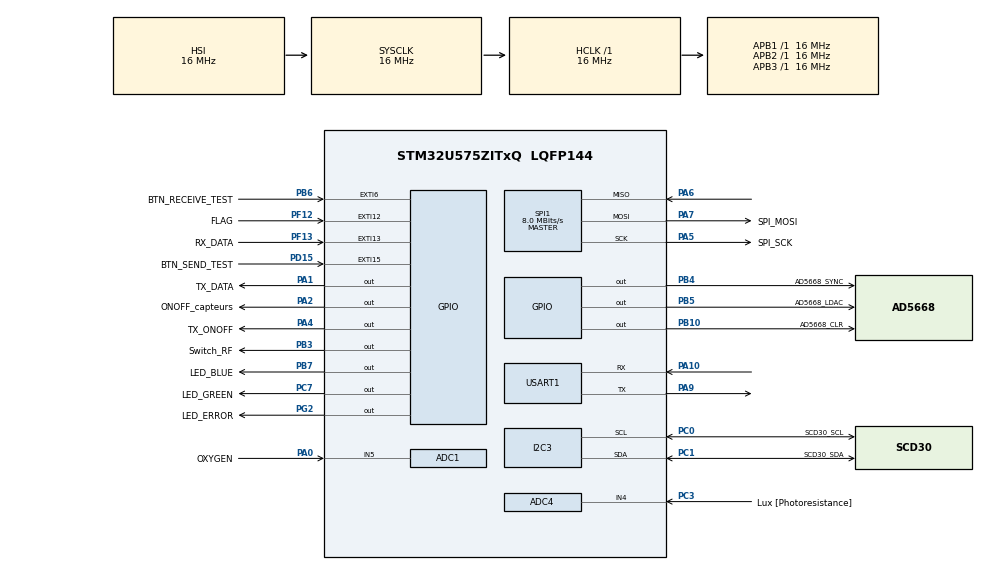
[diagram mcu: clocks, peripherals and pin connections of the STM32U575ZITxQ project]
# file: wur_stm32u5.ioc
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ADC1.Channel-3\#ChannelRegularConversion=ADC_CHANNEL_5
ADC1.EnableRegularConversion=ENABLE
ADC1.MonitoredBy-3\#ChannelRegularConversion=__NULL
ADC1.NbrOfConversion=1
ADC1.NbrOfConversionFlag=1
ADC1.OffsetNumber-3\#ChannelRegularConversion=ADC_OFFSET_NONE
ADC1.Rank-3\#ChannelRegularConversion=1
ADC1.Resolution=ADC_RESOLUTION_12B
ADC1.SamplingTime-3\#ChannelRegularConversion=ADC_SAMPLETIME_814CYCLES
ADC1.TriggerFrequencyMode=ADC_TRIGGER_FREQ_HIGH
ADC1.master=1
ADC4.NbrOfConversion=1
ADC4.NbrOfConversionFlag=0
ADC4.SamplingTimeCommon1=ADC4_SAMPLETIME_814CYCLES_5
ADC4.SamplingTimeCommon2=ADC4_SAMPLETIME_814CYCLES_5
ADC4.SelectedChannel=ADC_CHANNEL_4
ADC4.TriggerFrequencyMode=ADC_TRIGGER_FREQ_LOW
CORTEX_M33_NS.userName=CORTEX_M33
I2C3.Timing=0x00303D5B
LPTIM1.ClockPrescaler=LPTIM_PRESCALER_DIV128
LPTIM1.Period=2559
Mcu.Family=STM32U5
Mcu.Name=STM32U575ZITxQ
Mcu.Package=LQFP144
NUCLEO-U575ZI-Q.BUTTON=0
NVIC.EXTI12_IRQn=true\:0\:0\:false\:false\:true\:true\:true\:true
NVIC.EXTI13_IRQn=true\:0\:0\:false\:false\:true\:true\:true\:true
NVIC.EXTI15_IRQn=true\:5\:0\:true\:false\:true\:true\:true\:true
NVIC.EXTI6_IRQn=true\:0\:0\:true\:false\:true\:true\:true\:true
NVIC.LPTIM1_IRQn=true\:5\:0\:true\:false\:true\:true\:true\:true
NVIC.PriorityGroup=NVIC_PRIORITYGROUP_3
NVIC.TIM17_IRQn=true\:7\:0\:false\:false\:true\:false\:true\:true
NVIC.TIM1_UP_IRQn=true\:0\:0\:false\:false\:true\:true\:true\:true
NVIC.TimeBase=TIM17_IRQn
NVIC.TimeBaseIP=TIM17
PA0.GPIO_Label=OXYGEN
PA0.Mode=IN5-Single-Ended
PA0.Signal=ADC1_IN5
PA1.GPIO_Label=TX_DATA
PA1.Signal=GPIO_Output
PA10.Mode=Asynchronous
PA10.Signal=USART1_RX
PA13\ (JTMS/SWDIO).Mode=Serial_Wire
PA13\ (JTMS/SWDIO).Signal=DEBUG_JTMS-SWDIO
PA14\ (JTCK/SWCLK).Mode=Serial_Wire
PA14\ (JTCK/SWCLK).Signal=DEBUG_JTCK-SWCLK
PA2.GPIO_Label=ONOFF_capteurs
PA2.Signal=GPIO_Output
PA4.GPIO_Label=TX_ONOFF
PA4.Signal=GPIO_Output
PA5.GPIO_Label=SPI_SCK
PA5.Mode=Full_Duplex_Master
PA5.Signal=SPI1_SCK
PA6.Mode=Full_Duplex_Master
PA6.Signal=SPI1_MISO
PA7.GPIO_Label=SPI_MOSI
PA7.Mode=Full_Duplex_Master
PA7.Signal=SPI1_MOSI
PA9.Mode=Asynchronous
PA9.Signal=USART1_TX
PB10.GPIO_Label=AD5668_CLR
PB10.Signal=GPIO_Output
PB3\ (JTDO/TRACESWO).GPIO_Label=Switch_RF
PB3\ (JTDO/TRACESWO).Signal=GPIO_Output
PB4\ (NJTRST).GPIO_Label=AD5668_SYNC
PB4\ (NJTRST).Signal=GPIO_Output
PB5.GPIO_Label=AD5668_LDAC
PB5.Signal=GPIO_Output
PB6.GPIO_Label=BTN_RECEIVE_TEST
PB6.Signal=GPXTI6
PB7.GPIO_Label=LED_BLUE
PB7.Signal=GPIO_Output
PC0.GPIO_Label=SCD30_SCL
PC0.GPIO_Pu=GPIO_NOPULL
PC0.Mode=I2C
PC0.Signal=I2C3_SCL
PC1.GPIO_Label=SCD30_SDA
PC1.GPIO_Pu=GPIO_NOPULL
PC1.Mode=I2C
PC1.Signal=I2C3_SDA
PC14-OSC32_IN\ (PC14).Mode=LSE-External-Oscillator
PC14-OSC32_IN\ (PC14).Signal=RCC_OSC32_IN
PC15-OSC32_OUT\ (PC15).Mode=LSE-External-Oscillator
PC15-OSC32_OUT\ (PC15).Signal=RCC_OSC32_OUT
PC3.GPIO_Label=Lux [Photoresistance]
PC3.Mode=IN4
PC3.Signal=ADC4_IN4
PC7.GPIO_Label=LED_GREEN
PC7.Signal=GPIO_Output
PD15.GPIO_Label=BTN_SEND_TEST
PD15.Signal=GPXTI15
PF12.GPIO_Label=FLAG
PF12.Signal=GPXTI12
PF13.GPIO_Label=RX_DATA
PF13.GPIO_ModeDefaultEXTI=GPIO_MODE_IT_RISING_FALLING
PF13.Signal=GPXTI13
PG2.GPIO_Label=LED_ERROR
PG2.Signal=GPIO_Output
PH0-OSC_IN\ (PH0).Mode=HSE-External-Oscillator
PH0-OSC_IN\ (PH0).Signal=RCC_OSC_IN
PH1-OSC_OUT\ (PH1).Mode=HSE-External-Oscillator
PH1-OSC_OUT\ (PH1).Signal=RCC_OSC_OUT
PWR.PowerMode=PWR_SMPS_SUPPLY
ProjectManager.HeapSize=0x200
ProjectManager.StackSize=0x400
ProjectManager.TargetToolchain=STM32CubeIDE
RCC.ADCFreq_Value=16000000
RCC.AHBFreq_Value=16000000
RCC.APB1Freq_Value=16000000
RCC.APB1TimFreq_Value=16000000
RCC.APB2Freq_Value=16000000
RCC.APB2TimFreq_Value=16000000
RCC.APB3Freq_Value=16000000
RCC.CortexFreq_Value=16000000
RCC.DACCLockSelectionVirtual=RCC_DAC1CLKSOURCE_LSI
RCC.EPOD_VALUE=4000000
RCC.HCLKFreq_Value=16000000
RCC.HSE_VALUE=8000000
RCC.HSI48_VALUE=48000000
RCC.HSI_VALUE=16000000
RCC.LPTIM1CLockSelectionVirtual=RCC_LPTIM1CLKSOURCE_LSE
RCC.LSIDIV_VALUE=32000
RCC.MSI_VALUE=4000000
RCC.PLL1R=1
RCC.PLL2R=1
RCC.PLLFRACN=0
RCC.SYSCLKFreq_VALUE=16000000
RCC.SYSCLKSource=RCC_SYSCLKSOURCE_HSI
RCC.USBFreq_Value=48000000
RCC.VCOOutputFreq_Value=516000000
SPI1.BaudRatePrescaler=SPI_BAUDRATEPRESCALER_2
SPI1.CLKPhase=SPI_PHASE_2EDGE
SPI1.CalculateBaudRate=8.0 MBits/s
SPI1.DataSize=SPI_DATASIZE_8BIT
SPI1.Direction=SPI_DIRECTION_2LINES
SPI1.Mode=SPI_MODE_MASTER
SPI1.VirtualType=VM_MASTER
TIM1.PeriodNoDither=768
TIM1.Prescaler=15
USART1.VirtualMode-Asynchronous=VM_ASYNC
VP_ICACHE_VS_ENABLE_ICACHE_MEMORY.Mode=Memoryregions
VP_ICACHE_VS_ICACHE.Mode=DirectMappedCache
VP_LPBAMQUEUE_VS_QUEUE.Mode=QUEUEMODE
VP_LPBAM_VS_SIG1.Mode=SmartRun
VP_LPBAM_VS_SIG4.Mode=LPDMA1
VP_LPTIM1_VS_LPTIM_counterModeInternalClock.Mode=Counts__internal_clock_event_00
VP_MEMORYMAP_VS_MEMORYMAP.Mode=CurAppReg
VP_NUCLEO-U575ZI-Q_VS_BSP_COMMON.Mode=COMMON
VP_PWR_VS_DBSignals.Mode=DisableDeadBatterySignals
VP_PWR_VS_LPOM.Mode=PowerOptimisation
VP_PWR_VS_SECSignals.Mode=Security/Privilege
VP_PWR_Vdda.Mode=isolationVdda
VP_SYS_VS_tim17.Mode=TIM17
VP_TIM1_VS_ClockSourceINT.Mode=Internal
VP_TIM3_VS_ClockSourceINT.Mode=Internal
board=NUCLEO-U575ZI-Q

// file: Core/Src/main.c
/* USER CODE BEGIN Header */
/**
  ******************************************************************************
  * @file           : main.c
  * @brief          : Main program body
  ******************************************************************************
  * @attention
  *
  * Copyright (c) 2026 STMicroelectronics.
  * All rights reserved.
  *
  * This software is licensed under terms that can be found in the LICENSE file
  * in the root directory of this software component.
  * If no LICENSE file comes with this software, it is provided AS-IS.
  *
  ******************************************************************************
  */
/* USER CODE END Header */
#include "main.h"

/* USER CODE BEGIN Includes */
#include "app_sensors.h"
#include "telemetry.h"
#include "sensor_data.h"
#include "rf_ook_proto.h"
#include "rf_ook_rx.h"
#include "rf_ook_tx.h"
#include "AD5668_cna.h"
#include <string.h>
#include <stdio.h>

/* USER CODE END Includes */

ADC_HandleTypeDef hadc1;
ADC_HandleTypeDef hadc4;

I2C_HandleTypeDef hi2c3;

LPTIM_HandleTypeDef hlptim1;

SPI_HandleTypeDef hspi1;

TIM_HandleTypeDef htim1;
TIM_HandleTypeDef htim3;

UART_HandleTypeDef huart1;

void SystemClock_Config(void);
static void SystemPower_Config(void);
static void MX_GPIO_Init(void);
static void MX_ICACHE_Init(void);
static void MX_ADC4_Init(void);
static void MX_ADC1_Init(void);
static void MX_I2C3_Init(void);
static void MX_USART1_UART_Init(void);
static void MX_SPI1_Init(void);
static void MX_TIM1_Init(void);
static void MX_TIM3_Init(void);
static void MX_LPTIM1_Init(void);
/* USER CODE BEGIN PFP */
static void system_clock_restore(void);
/* USER CODE END PFP */

/* USER CODE BEGIN 0 */

volatile bool tx_periodic_flag = false;   // LPTIM1
volatile bool rx_wakeup_flag = false;    // RX_DATA EXTI

static uint8_t payload_len;
static uint8_t payload[MAX_PAYLOAD_SIZE];
/* USER CODE END 0 */

int main(void)
{

  /* MCU Configuration--------------------------------------------------------*/

  /* Reset of all peripherals, Initializes the Flash interface and the Systick. */
  HAL_Init();

  /* Configure the System Power */
  SystemPower_Config();

  /* Configure the system clock */
  SystemClock_Config();

  /* Initialize all configured peripherals */
  MX_GPIO_Init();
  MX_ICACHE_Init();
  MX_ADC4_Init();
  MX_ADC1_Init();
  MX_I2C3_Init();
  MX_USART1_UART_Init();
  MX_SPI1_Init();
  MX_TIM1_Init();
  MX_TIM3_Init();
  MX_LPTIM1_Init();

  /* Infinite loop */
  /* USER CODE BEGIN WHILE */

  // Initialisation du DAC pour la WuR
  cna_init();  // configure SPI, CLR, LDAC et met les tensions initiales

  /* initialisez les capteurs */
  sensors_init();

  /* init du protocole de communication */
  rf_ook_proto_init();

  /* LOW POWER TIMER 1 pour envoie mesures */
  HAL_LPTIM_Counter_Start_IT(&hlptim1);

  sensor_payload_t sensors;

  while (1)
  {
#ifdef NODE_IS_TRANSMITTER
	  if (tx_periodic_flag) {
	      tx_periodic_flag = false;

	      /* lancez les capteurs */
	      sensors_task();

	      sensors.co2 = sensor_data_get_co2();
	      sensors.temp = sensor_data_get_temperature();
	      sensors.hum = sensor_data_get_humidity();
	      sensors.lux = sensor_data_get_lux();
	      sensors.o2 = sensor_data_get_o2();
	      sensors.motion = 0; /* No motion sensor for now */

	      memcpy(payload, &sensors, sizeof(sensor_payload_t));
	      payload_len = sizeof(sensor_payload_t);

	      telemetry_send_uart();

	      if (!rf_ook_proto_is_busy()) {
				uint8_t dest_addr = rf_ook_get_node_address();
	            char msg[] = "TX: Envoi en cours...\r\n";
	            HAL_UART_Transmit(&huart1, (uint8_t*)msg, strlen(msg), 100);
	          rf_ook_proto_send_frame(dest_addr, payload, payload_len);
	      }

	  }
#else
	  rf_ook_rx_process_queue();
	  if (rf_ook_rx_is_frame_ready()) {
	    	rf_ook_proto_handle_received_frame();
	  }
#endif

//#ifdef NODE_IS_TRANSMITTER
//
//    if (tx_periodic_flag) {
//        tx_periodic_flag = false;
//
//        sensors_task();
//        sensors.co2    = sensor_data_get_co2();
//        sensors.temp   = sensor_data_get_temperature();
//        sensors.hum    = sensor_data_get_humidity();
//        sensors.lux    = sensor_data_get_lux();
//        sensors.o2     = sensor_data_get_o2();
//        sensors.motion = 0;
//
//        memcpy(payload, &sensors, sizeof(sensor_payload_t));
//        payload_len = sizeof(sensor_payload_t);
//        telemetry_send_uart();
//
//        if (!rf_ook_proto_is_busy()) {
//            char msg[] = "TX: Envoi en cours...\r\n";
//            HAL_UART_Transmit(&huart1, (uint8_t*)msg, strlen(msg), 100);
//            rf_ook_proto_send_frame(rf_ook_get_node_address(), payload, payload_len);
//        }
//
//        // Attendre fin TX + fin UART avant de dormir
//        while (rf_ook_proto_is_busy());
//        while (HAL_UART_GetState(&huart1) != HAL_UART_STATE_READY);
//    }
//    // Entrée en Stop2 uniquement si rien n'est actif
//    if (!rf_ook_proto_is_busy() && HAL_UART_GetState(&huart1) == HAL_UART_STATE_READY)
//    {
//    	HAL_SuspendTick();
//    	HAL_TIM_Base_Stop_IT(&htim1);  // TIM1 TX
//
//    	HAL_GPIO_WritePin(LED_BLUE_GPIO_Port, LED_BLUE_Pin, GPIO_PIN_RESET);
//    	HAL_PWREx_EnterSTOP2Mode(PWR_STOPENTRY_WFI);
//    	HAL_GPIO_WritePin(LED_BLUE_GPIO_Port, LED_BLUE_Pin, GPIO_PIN_SET);
//
//    	HAL_ResumeTick();  // Réactive TIM17
//    	system_clock_restore();
//    }
//
//#else
//
//    if (rx_wakeup_flag) {
//        rx_wakeup_flag = false;
//        rf_ook_rx_process_queue();
//        if (rf_ook_rx_is_frame_ready()) {
//            rf_ook_proto_handle_received_frame();
//        }
//    }
//
//    // Entrée en Stop2 si UART libre et rien en attente
//    if (!rx_wakeup_flag && HAL_UART_GetState(&huart1) == HAL_UART_STATE_READY)
//    {
//		HAL_SuspendTick();
//		HAL_TIM_Base_Stop_IT(&htim1);  // TIM1 TX
//
//		HAL_GPIO_WritePin(LED_BLUE_GPIO_Port, LED_BLUE_Pin, GPIO_PIN_RESET);
//		HAL_PWREx_EnterSTOP2Mode(PWR_STOPENTRY_WFI);
//		HAL_GPIO_WritePin(LED_BLUE_GPIO_Port, LED_BLUE_Pin, GPIO_PIN_SET);
//
//		HAL_ResumeTick();  // Réactive TIM17
//		system_clock_restore();
//    }
//#endif

    /* USER CODE END WHILE */

  }
}

void SystemClock_Config(void)
{
  RCC_OscInitTypeDef RCC_OscInitStruct = {0};
  RCC_ClkInitTypeDef RCC_ClkInitStruct = {0};

  /** Configure the main internal regulator output voltage
  */
  if (HAL_PWREx_ControlVoltageScaling(PWR_REGULATOR_VOLTAGE_SCALE4) != HAL_OK)
  {
    Error_Handler();
  }

  /** Configure LSE Drive Capability
  */
  HAL_PWR_EnableBkUpAccess();
  __HAL_RCC_LSEDRIVE_CONFIG(RCC_LSEDRIVE_LOW);

  /** Initializes the CPU, AHB and APB buses clocks
  */
  RCC_OscInitStruct.OscillatorType = RCC_OSCILLATORTYPE_HSI|RCC_OSCILLATORTYPE_LSE;
  RCC_OscInitStruct.LSEState = RCC_LSE_ON;
  RCC_OscInitStruct.HSIState = RCC_HSI_ON;
  RCC_OscInitStruct.HSICalibrationValue = RCC_HSICALIBRATION_DEFAULT;
  RCC_OscInitStruct.PLL.PLLState = RCC_PLL_NONE;
  if (HAL_RCC_OscConfig(&RCC_OscInitStruct) != HAL_OK)
  {
    Error_Handler();
  }

  /** Initializes the CPU, AHB and APB buses clocks
  */
  RCC_ClkInitStruct.ClockType = RCC_CLOCKTYPE_HCLK|RCC_CLOCKTYPE_SYSCLK
                              |RCC_CLOCKTYPE_PCLK1|RCC_CLOCKTYPE_PCLK2
                              |RCC_CLOCKTYPE_PCLK3;
  RCC_ClkInitStruct.SYSCLKSource = RCC_SYSCLKSOURCE_HSI;
  RCC_ClkInitStruct.AHBCLKDivider = RCC_SYSCLK_DIV1;
  RCC_ClkInitStruct.APB1CLKDivider = RCC_HCLK_DIV1;
  RCC_ClkInitStruct.APB2CLKDivider = RCC_HCLK_DIV1;
  RCC_ClkInitStruct.APB3CLKDivider = RCC_HCLK_DIV1;

  if (HAL_RCC_ClockConfig(&RCC_ClkInitStruct, FLASH_LATENCY_1) != HAL_OK)
  {
    Error_Handler();
  }
}

/**
  * @brief Power Configuration
  * @retval None
  */
static void SystemPower_Config(void)
{
  HAL_PWREx_EnableVddIO2();

  /*
   * Disable the internal Pull-Up in Dead Battery pins of UCPD peripheral
   */
  HAL_PWREx_DisableUCPDDeadBattery();

  /*
   * Switch to SMPS regulator instead of LDO
   */
  if (HAL_PWREx_ConfigSupply(PWR_SMPS_SUPPLY) != HAL_OK)
  {
    Error_Handler();
  }
}

static void MX_ADC1_Init(void)
{

  ADC_ChannelConfTypeDef sConfig = {0};

  /** Common config
  */
  hadc1.Instance = ADC1;
  hadc1.Init.ClockPrescaler = ADC_CLOCK_ASYNC_DIV1;
  hadc1.Init.Resolution = ADC_RESOLUTION_12B;
  hadc1.Init.GainCompensation = 0;
  hadc1.Init.ScanConvMode = ADC_SCAN_DISABLE;
  hadc1.Init.EOCSelection = ADC_EOC_SINGLE_CONV;
  hadc1.Init.LowPowerAutoWait = DISABLE;
  hadc1.Init.ContinuousConvMode = DISABLE;
  hadc1.Init.NbrOfConversion = 1;
  hadc1.Init.DiscontinuousConvMode = DISABLE;
  hadc1.Init.ExternalTrigConv = ADC_SOFTWARE_START;
  hadc1.Init.ExternalTrigConvEdge = ADC_EXTERNALTRIGCONVEDGE_NONE;
  hadc1.Init.DMAContinuousRequests = DISABLE;
  hadc1.Init.TriggerFrequencyMode = ADC_TRIGGER_FREQ_HIGH;
  hadc1.Init.Overrun = ADC_OVR_DATA_PRESERVED;
  hadc1.Init.LeftBitShift = ADC_LEFTBITSHIFT_NONE;
  hadc1.Init.ConversionDataManagement = ADC_CONVERSIONDATA_DR;
  hadc1.Init.OversamplingMode = DISABLE;
  if (HAL_ADC_Init(&hadc1) != HAL_OK)
  {
    Error_Handler();
  }

  /** Configure Regular Channel
  */
  sConfig.Channel = ADC_CHANNEL_5;
  sConfig.Rank = ADC_REGULAR_RANK_1;
  sConfig.SamplingTime = ADC_SAMPLETIME_814CYCLES;
  sConfig.SingleDiff = ADC_SINGLE_ENDED;
  sConfig.OffsetNumber = ADC_OFFSET_NONE;
  sConfig.Offset = 0;
  if (HAL_ADC_ConfigChannel(&hadc1, &sConfig) != HAL_OK)
  {
    Error_Handler();
  }

}

static void MX_ADC4_Init(void)
{

  ADC_ChannelConfTypeDef sConfig = {0};

  /** Common config
  */
  hadc4.Instance = ADC4;
  hadc4.Init.ClockPrescaler = ADC_CLOCK_ASYNC_DIV1;
  hadc4.Init.Resolution = ADC_RESOLUTION_12B;
  hadc4.Init.DataAlign = ADC_DATAALIGN_RIGHT;
  hadc4.Init.ScanConvMode = ADC_SCAN_DIRECTION_FORWARD;
  hadc4.Init.EOCSelection = ADC_EOC_SINGLE_CONV;
  hadc4.Init.LowPowerAutoPowerOff = ADC_LOW_POWER_NONE;
  hadc4.Init.LowPowerAutoWait = DISABLE;
  hadc4.Init.ContinuousConvMode = DISABLE;
  hadc4.Init.NbrOfConversion = 1;
  hadc4.Init.DiscontinuousConvMode = DISABLE;
  hadc4.Init.ExternalTrigConv = ADC_SOFTWARE_START;
  hadc4.Init.ExternalTrigConvEdge = ADC_EXTERNALTRIGCONVEDGE_NONE;
  hadc4.Init.DMAContinuousRequests = DISABLE;
  hadc4.Init.TriggerFrequencyMode = ADC_TRIGGER_FREQ_LOW;
  hadc4.Init.Overrun = ADC_OVR_DATA_PRESERVED;
  hadc4.Init.SamplingTimeCommon1 = ADC4_SAMPLETIME_814CYCLES_5;
  hadc4.Init.SamplingTimeCommon2 = ADC4_SAMPLETIME_814CYCLES_5;
  hadc4.Init.OversamplingMode = DISABLE;
  if (HAL_ADC_Init(&hadc4) != HAL_OK)
  {
    Error_Handler();
  }

  /** Configure Regular Channel
  */
  sConfig.Channel = ADC_CHANNEL_4;
  sConfig.Rank = ADC4_RANK_CHANNEL_NUMBER;
  sConfig.SamplingTime = ADC4_SAMPLINGTIME_COMMON_1;
  sConfig.OffsetNumber = ADC_OFFSET_NONE;
  sConfig.Offset = 0;
  if (HAL_ADC_ConfigChannel(&hadc4, &sConfig) != HAL_OK)
  {
    Error_Handler();
  }

}

static void MX_I2C3_Init(void)
{

  hi2c3.Instance = I2C3;
  hi2c3.Init.Timing = 0x00303D5B;
  hi2c3.Init.OwnAddress1 = 0;
  hi2c3.Init.AddressingMode = I2C_ADDRESSINGMODE_7BIT;
  hi2c3.Init.DualAddressMode = I2C_DUALADDRESS_DISABLE;
  hi2c3.Init.OwnAddress2 = 0;
  hi2c3.Init.OwnAddress2Masks = I2C_OA2_NOMASK;
  hi2c3.Init.GeneralCallMode = I2C_GENERALCALL_DISABLE;
  hi2c3.Init.NoStretchMode = I2C_NOSTRETCH_DISABLE;
  if (HAL_I2C_Init(&hi2c3) != HAL_OK)
  {
    Error_Handler();
  }

  /** Configure Analogue filter
  */
  if (HAL_I2CEx_ConfigAnalogFilter(&hi2c3, I2C_ANALOGFILTER_ENABLE) != HAL_OK)
  {
    Error_Handler();
  }

  /** Configure Digital filter
  */
  if (HAL_I2CEx_ConfigDigitalFilter(&hi2c3, 0) != HAL_OK)
  {
    Error_Handler();
  }

}

static void MX_ICACHE_Init(void)
{

  /** Enable instruction cache in 1-way (direct mapped cache)
  */
  if (HAL_ICACHE_ConfigAssociativityMode(ICACHE_1WAY) != HAL_OK)
  {
    Error_Handler();
  }
  if (HAL_ICACHE_Enable() != HAL_OK)
  {
    Error_Handler();
  }

}

static void MX_LPTIM1_Init(void)
{

  hlptim1.Instance = LPTIM1;
  hlptim1.Init.Clock.Source = LPTIM_CLOCKSOURCE_APBCLOCK_LPOSC;
  hlptim1.Init.Clock.Prescaler = LPTIM_PRESCALER_DIV128;
  hlptim1.Init.Trigger.Source = LPTIM_TRIGSOURCE_SOFTWARE;
  hlptim1.Init.Period = 2559;
  hlptim1.Init.UpdateMode = LPTIM_UPDATE_IMMEDIATE;
  hlptim1.Init.CounterSource = LPTIM_COUNTERSOURCE_INTERNAL;
  hlptim1.Init.Input1Source = LPTIM_INPUT1SOURCE_GPIO;
  hlptim1.Init.Input2Source = LPTIM_INPUT2SOURCE_GPIO;
  hlptim1.Init.RepetitionCounter = 0;
  if (HAL_LPTIM_Init(&hlptim1) != HAL_OK)
  {
    Error_Handler();
  }
  /* USER CODE BEGIN LPTIM1_Init 2 */
  __HAL_RCC_LPTIM1_CLK_SLEEP_ENABLE();
  /* USER CODE END LPTIM1_Init 2 */

}

static void MX_SPI1_Init(void)
{

  SPI_AutonomousModeConfTypeDef HAL_SPI_AutonomousMode_Cfg_Struct = {0};

  /* SPI1 parameter configuration*/
  hspi1.Instance = SPI1;
  hspi1.Init.Mode = SPI_MODE_MASTER;
  hspi1.Init.Direction = SPI_DIRECTION_2LINES;
  hspi1.Init.DataSize = SPI_DATASIZE_8BIT;
  hspi1.Init.CLKPolarity = SPI_POLARITY_LOW;
  hspi1.Init.CLKPhase = SPI_PHASE_2EDGE;
  hspi1.Init.NSS = SPI_NSS_SOFT;
  hspi1.Init.BaudRatePrescaler = SPI_BAUDRATEPRESCALER_2;
  hspi1.Init.FirstBit = SPI_FIRSTBIT_MSB;
  hspi1.Init.TIMode = SPI_TIMODE_DISABLE;
  hspi1.Init.CRCCalculation = SPI_CRCCALCULATION_DISABLE;
  hspi1.Init.CRCPolynomial = 0x7;
  hspi1.Init.NSSPMode = SPI_NSS_PULSE_DISABLE;
  hspi1.Init.NSSPolarity = SPI_NSS_POLARITY_LOW;
  hspi1.Init.FifoThreshold = SPI_FIFO_THRESHOLD_01DATA;
  hspi1.Init.MasterSSIdleness = SPI_MASTER_SS_IDLENESS_00CYCLE;
  hspi1.Init.MasterInterDataIdleness = SPI_MASTER_INTERDATA_IDLENESS_00CYCLE;
  hspi1.Init.MasterReceiverAutoSusp = SPI_MASTER_RX_AUTOSUSP_DISABLE;
  hspi1.Init.MasterKeepIOState = SPI_MASTER_KEEP_IO_STATE_DISABLE;
  hspi1.Init.IOSwap = SPI_IO_SWAP_DISABLE;
  hspi1.Init.ReadyMasterManagement = SPI_RDY_MASTER_MANAGEMENT_INTERNALLY;
  hspi1.Init.ReadyPolarity = SPI_RDY_POLARITY_HIGH;
  if (HAL_SPI_Init(&hspi1) != HAL_OK)
  {
    Error_Handler();
  }
  HAL_SPI_AutonomousMode_Cfg_Struct.TriggerState = SPI_AUTO_MODE_DISABLE;
  HAL_SPI_AutonomousMode_Cfg_Struct.TriggerSelection = SPI_GRP1_GPDMA_CH0_TCF_TRG;
  HAL_SPI_AutonomousMode_Cfg_Struct.TriggerPolarity = SPI_TRIG_POLARITY_RISING;
  if (HAL_SPIEx_SetConfigAutonomousMode(&hspi1, &HAL_SPI_AutonomousMode_Cfg_Struct) != HAL_OK)
  {
    Error_Handler();
  }

}

static void MX_TIM1_Init(void)
{

  TIM_ClockConfigTypeDef sClockSourceConfig = {0};
  TIM_MasterConfigTypeDef sMasterConfig = {0};

  htim1.Instance = TIM1;
  htim1.Init.Prescaler = 15;
  htim1.Init.CounterMode = TIM_COUNTERMODE_UP;
  htim1.Init.Period = 768;
  htim1.Init.ClockDivision = TIM_CLOCKDIVISION_DIV1;
  htim1.Init.RepetitionCounter = 0;
  htim1.Init.AutoReloadPreload = TIM_AUTORELOAD_PRELOAD_DISABLE;
  if (HAL_TIM_Base_Init(&htim1) != HAL_OK)
  {
    Error_Handler();
  }
  sClockSourceConfig.ClockSource = TIM_CLOCKSOURCE_INTERNAL;
  if (HAL_TIM_ConfigClockSource(&htim1, &sClockSourceConfig) != HAL_OK)
  {
    Error_Handler();
  }
  sMasterConfig.MasterOutputTrigger = TIM_TRGO_RESET;
  sMasterConfig.MasterOutputTrigger2 = TIM_TRGO2_RESET;
  sMasterConfig.MasterSlaveMode = TIM_MASTERSLAVEMODE_DISABLE;
  if (HAL_TIMEx_MasterConfigSynchronization(&htim1, &sMasterConfig) != HAL_OK)
  {
    Error_Handler();
  }

}

static void MX_TIM3_Init(void)
{

  TIM_ClockConfigTypeDef sClockSourceConfig = {0};
  TIM_MasterConfigTypeDef sMasterConfig = {0};

  htim3.Instance = TIM3;
  htim3.Init.Prescaler = 0;
  htim3.Init.CounterMode = TIM_COUNTERMODE_UP;
  htim3.Init.Period = 4294967295;
  htim3.Init.ClockDivision = TIM_CLOCKDIVISION_DIV1;
  htim3.Init.AutoReloadPreload = TIM_AUTORELOAD_PRELOAD_DISABLE;
  if (HAL_TIM_Base_Init(&htim3) != HAL_OK)
  {
    Error_Handler();
  }
  sClockSourceConfig.ClockSource = TIM_CLOCKSOURCE_INTERNAL;
  if (HAL_TIM_ConfigClockSource(&htim3, &sClockSourceConfig) != HAL_OK)
  {
    Error_Handler();
  }
  sMasterConfig.MasterOutputTrigger = TIM_TRGO_RESET;
  sMasterConfig.MasterSlaveMode = TIM_MASTERSLAVEMODE_DISABLE;
  if (HAL_TIMEx_MasterConfigSynchronization(&htim3, &sMasterConfig) != HAL_OK)
  {
    Error_Handler();
  }

}

static void MX_USART1_UART_Init(void)
{

  huart1.Instance = USART1;
  huart1.Init.BaudRate = 115200;
  huart1.Init.WordLength = UART_WORDLENGTH_8B;
  huart1.Init.StopBits = UART_STOPBITS_1;
  huart1.Init.Parity = UART_PARITY_NONE;
  huart1.Init.Mode = UART_MODE_TX_RX;
  huart1.Init.HwFlowCtl = UART_HWCONTROL_NONE;
  huart1.Init.OverSampling = UART_OVERSAMPLING_16;
  huart1.Init.OneBitSampling = UART_ONE_BIT_SAMPLE_DISABLE;
  huart1.Init.ClockPrescaler = UART_PRESCALER_DIV1;
  huart1.AdvancedInit.AdvFeatureInit = UART_ADVFEATURE_NO_INIT;
  if (HAL_UART_Init(&huart1) != HAL_OK)
  {
    Error_Handler();
  }
  if (HAL_UARTEx_SetTxFifoThreshold(&huart1, UART_TXFIFO_THRESHOLD_1_8) != HAL_OK)
  {
    Error_Handler();
  }
  if (HAL_UARTEx_SetRxFifoThreshold(&huart1, UART_RXFIFO_THRESHOLD_1_8) != HAL_OK)
  {
    Error_Handler();
  }
  if (HAL_UARTEx_DisableFifoMode(&huart1) != HAL_OK)
  {
    Error_Handler();
  }

}

static void MX_GPIO_Init(void)
{
  GPIO_InitTypeDef GPIO_InitStruct = {0};

  /* GPIO Ports Clock Enable */
  __HAL_RCC_GPIOC_CLK_ENABLE();
  __HAL_RCC_GPIOH_CLK_ENABLE();
  __HAL_RCC_GPIOA_CLK_ENABLE();
  __HAL_RCC_GPIOF_CLK_ENABLE();
  __HAL_RCC_GPIOB_CLK_ENABLE();
  __HAL_RCC_GPIOD_CLK_ENABLE();
  __HAL_RCC_GPIOG_CLK_ENABLE();

  /*Configure GPIO pin Output Level */
  HAL_GPIO_WritePin(GPIOA, TX_DATA_Pin|ONOFF_capteurs_Pin|TX_ONOFF_Pin, GPIO_PIN_RESET);

  /*Configure GPIO pin Output Level */
  HAL_GPIO_WritePin(GPIOB, AD5668_CLR_Pin|Switch_RF_Pin|AD5668_SYNC_Pin|AD5668_LDAC_Pin
                          |LED_BLUE_Pin, GPIO_PIN_RESET);

  /*Configure GPIO pin Output Level */
  HAL_GPIO_WritePin(LED_ERROR_GPIO_Port, LED_ERROR_Pin, GPIO_PIN_RESET);

  /*Configure GPIO pin Output Level */
  HAL_GPIO_WritePin(LED_GREEN_GPIO_Port, LED_GREEN_Pin, GPIO_PIN_RESET);

  /*Configure GPIO pins : TX_DATA_Pin ONOFF_capteurs_Pin TX_ONOFF_Pin */
  GPIO_InitStruct.Pin = TX_DATA_Pin|ONOFF_capteurs_Pin|TX_ONOFF_Pin;
  GPIO_InitStruct.Mode = GPIO_MODE_OUTPUT_PP;
  GPIO_InitStruct.Pull = GPIO_NOPULL;
  GPIO_InitStruct.Speed = GPIO_SPEED_FREQ_LOW;
  HAL_GPIO_Init(GPIOA, &GPIO_InitStruct);

  /*Configure GPIO pin : FLAG_Pin */
  GPIO_InitStruct.Pin = FLAG_Pin;
  GPIO_InitStruct.Mode = GPIO_MODE_IT_RISING;
  GPIO_InitStruct.Pull = GPIO_NOPULL;
  HAL_GPIO_Init(FLAG_GPIO_Port, &GPIO_InitStruct);

  /*Configure GPIO pin : RX_DATA_Pin */
  GPIO_InitStruct.Pin = RX_DATA_Pin;
  GPIO_InitStruct.Mode = GPIO_MODE_IT_RISING_FALLING;
  GPIO_InitStruct.Pull = GPIO_NOPULL;
  HAL_GPIO_Init(RX_DATA_GPIO_Port, &GPIO_InitStruct);

  /*Configure GPIO pins : AD5668_CLR_Pin Switch_RF_Pin AD5668_SYNC_Pin AD5668_LDAC_Pin
                           LED_BLUE_Pin */
  GPIO_InitStruct.Pin = AD5668_CLR_Pin|Switch_RF_Pin|AD5668_SYNC_Pin|AD5668_LDAC_Pin
                          |LED_BLUE_Pin;
  GPIO_InitStruct.Mode = GPIO_MODE_OUTPUT_PP;
  GPIO_InitStruct.Pull = GPIO_NOPULL;
  GPIO_InitStruct.Speed = GPIO_SPEED_FREQ_LOW;
  HAL_GPIO_Init(GPIOB, &GPIO_InitStruct);

  /*Configure GPIO pin : BTN_SEND_TEST_Pin */
  GPIO_InitStruct.Pin = BTN_SEND_TEST_Pin;
  GPIO_InitStruct.Mode = GPIO_MODE_IT_RISING;
  GPIO_InitStruct.Pull = GPIO_NOPULL;
  HAL_GPIO_Init(BTN_SEND_TEST_GPIO_Port, &GPIO_InitStruct);

  /*Configure GPIO pin : LED_ERROR_Pin */
  GPIO_InitStruct.Pin = LED_ERROR_Pin;
  GPIO_InitStruct.Mode = GPIO_MODE_OUTPUT_PP;
  GPIO_InitStruct.Pull = GPIO_NOPULL;
  GPIO_InitStruct.Speed = GPIO_SPEED_FREQ_LOW;
  HAL_GPIO_Init(LED_ERROR_GPIO_Port, &GPIO_InitStruct);

  /*Configure GPIO pin : LED_GREEN_Pin */
  GPIO_InitStruct.Pin = LED_GREEN_Pin;
  GPIO_InitStruct.Mode = GPIO_MODE_OUTPUT_PP;
  GPIO_InitStruct.Pull = GPIO_NOPULL;
  GPIO_InitStruct.Speed = GPIO_SPEED_FREQ_LOW;
  HAL_GPIO_Init(LED_GREEN_GPIO_Port, &GPIO_InitStruct);

  /*Configure GPIO pin : BTN_RECEIVE_TEST_Pin */
  GPIO_InitStruct.Pin = BTN_RECEIVE_TEST_Pin;
  GPIO_InitStruct.Mode = GPIO_MODE_IT_RISING;
  GPIO_InitStruct.Pull = GPIO_NOPULL;
  HAL_GPIO_Init(BTN_RECEIVE_TEST_GPIO_Port, &GPIO_InitStruct);

  /* EXTI interrupt init*/
  HAL_NVIC_SetPriority(EXTI6_IRQn, 0, 0);
  HAL_NVIC_EnableIRQ(EXTI6_IRQn);

  HAL_NVIC_SetPriority(EXTI12_IRQn, 0, 0);
  HAL_NVIC_EnableIRQ(EXTI12_IRQn);

  HAL_NVIC_SetPriority(EXTI13_IRQn, 0, 0);
  HAL_NVIC_EnableIRQ(EXTI13_IRQn);

  HAL_NVIC_SetPriority(EXTI15_IRQn, 5, 0);
  HAL_NVIC_EnableIRQ(EXTI15_IRQn);

}

/* USER CODE BEGIN 4 */

static void system_clock_restore(void)
{
    RCC_OscInitTypeDef RCC_OscInitStruct = {0};
    RCC_OscInitStruct.OscillatorType      = RCC_OSCILLATORTYPE_HSI;
    RCC_OscInitStruct.HSIState            = RCC_HSI_ON;
    RCC_OscInitStruct.HSICalibrationValue = RCC_HSICALIBRATION_DEFAULT;
    RCC_OscInitStruct.PLL.PLLState        = RCC_PLL_NONE;
    if (HAL_RCC_OscConfig(&RCC_OscInitStruct) != HAL_OK)
    {
        Error_Handler();
    }

    // Resélectionne HSI comme SYSCLK
    RCC_ClkInitTypeDef RCC_ClkInitStruct = {0};
    RCC_ClkInitStruct.ClockType    = RCC_CLOCKTYPE_HCLK    |
                                     RCC_CLOCKTYPE_SYSCLK  |
                                     RCC_CLOCKTYPE_PCLK1   |
                                     RCC_CLOCKTYPE_PCLK2   |
                                     RCC_CLOCKTYPE_PCLK3;
    RCC_ClkInitStruct.SYSCLKSource     = RCC_SYSCLKSOURCE_HSI;
    RCC_ClkInitStruct.AHBCLKDivider    = RCC_SYSCLK_DIV1;
    RCC_ClkInitStruct.APB1CLKDivider   = RCC_HCLK_DIV1;
    RCC_ClkInitStruct.APB2CLKDivider   = RCC_HCLK_DIV1;
    RCC_ClkInitStruct.APB3CLKDivider   = RCC_HCLK_DIV1;
    if (HAL_RCC_ClockConfig(&RCC_ClkInitStruct, FLASH_LATENCY_1) != HAL_OK)
    {
        Error_Handler();
    }

    // Réinit périphériques
    MX_I2C3_Init();
    MX_USART1_UART_Init();
    MX_SPI1_Init();
    MX_ADC1_Init();
    HAL_ADCEx_Calibration_Start(&hadc1, ADC_CALIB_OFFSET, ADC_SINGLE_ENDED);
    MX_ADC4_Init();
    HAL_ADCEx_Calibration_Start(&hadc4, ADC_CALIB_OFFSET, ADC_SINGLE_ENDED);

    // Recaler référence temps RX
    last_edge_time = TIM3->CNT;
}

void HAL_GPIO_EXTI_Rising_Callback(uint16_t GPIO_Pin)
{
    // Bouton TX
    if (GPIO_Pin == BTN_SEND_TEST_Pin)
    {
    	if (!rf_ook_proto_is_busy())
    	{
            char msg[] = "TX: Envoi en cours...\r\n";
            HAL_UART_Transmit(&huart1, (uint8_t*)msg, strlen(msg), 100);

			uint8_t node_addr = rf_ook_get_node_address();
			rf_ook_proto_send_frame(node_addr, payload, payload_len);
    	}
    }

    if (GPIO_Pin == RX_DATA_Pin)
    {
    	rx_wakeup_flag = true;
        rf_ook_rx_handle_edge(1);
    }
}

void HAL_GPIO_EXTI_Falling_Callback(uint16_t GPIO_Pin)
{
	if (GPIO_Pin == RX_DATA_Pin) {
		rx_wakeup_flag = true;
        rf_ook_rx_handle_edge(0);
	}
}

void HAL_LPTIM_AutoReloadMatchCallback(LPTIM_HandleTypeDef *hlptim)
{
    if (hlptim->Instance == LPTIM1) {
        tx_periodic_flag = true;
    }
}

/* USER CODE END 4 */

void HAL_TIM_PeriodElapsedCallback(TIM_HandleTypeDef *htim)
{
  /* USER CODE BEGIN Callback 0 */

  // Timer TX OOK
  rf_ook_tx_frame_t* tx_frame = rf_ook_proto_get_tx_frame();
  if (htim->Instance == TIM1 && tx_frame->active) {
	  rf_ook_tx_send_bit(tx_frame);
  }

  /* USER CODE END Callback 0 */
  if (htim->Instance == TIM17)
  {
    HAL_IncTick();
  }
}

void Error_Handler(void)
{
  /* USER CODE BEGIN Error_Handler_Debug */
  /* User can add his own implementation to report the HAL error return state */
  __disable_irq();

  const char msg[] = "HAL ERROR occurred!\r\n";
  HAL_UART_Transmit(&huart1, (uint8_t*)msg, sizeof(msg)-1, 100);
  while (1)
  {
  }
  /* USER CODE END Error_Handler_Debug */
}
